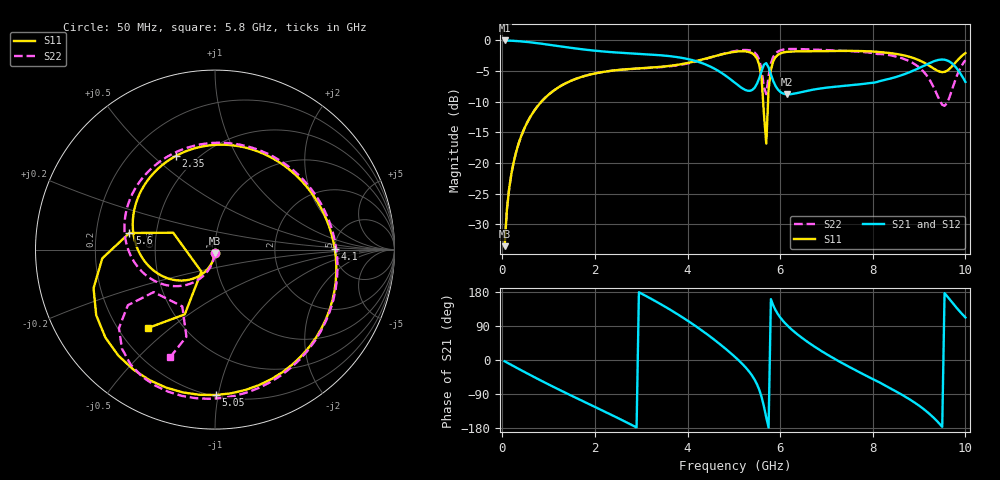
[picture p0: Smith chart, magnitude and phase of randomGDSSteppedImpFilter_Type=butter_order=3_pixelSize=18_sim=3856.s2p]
! freq	dB(S11)	phase(S11)	dB(S12)	phase(S12)
!  dB(S21)	phase(S21)	dB(S22)	phase(S22)
!S-par simulation data
#  GHz  S  DB  R 50
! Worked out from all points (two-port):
!   200 points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, 50 MHz to 10 GHz, reference 50 ohm
!   highest |S21| = -0.01 dB at 50 MHz (marker M1); lowest = -8.8 dB at 6.15 GHz (marker M2)
!   |S21| within 3 dB of the highest: start of sweep to 3.99 GHz
!   lowest |S11| = -33.5 dB at 50 MHz (marker M3), VSWR 1.04, Z = 49.8 - j2.1 ohm
!   |S11| at or under -10 dB: start of sweep to 843.4 MHz; 5.633 GHz to 5.739 GHz (106.2 MHz wide, 1.87 % of centre)
!   |S22| runs from -33.5 to -1.4 dB; largest |S21 - S12| = 0
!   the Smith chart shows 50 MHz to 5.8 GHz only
!   S11 on the Smith chart (normalised r, x): 50 MHz: 1.00, -0.04; 2.35 GHz: 0.39, +0.59; 4.1 GHz: 5.00, +0.11; 5.05 GHz: 0.21, -0.98; 5.6 GHz: 0.35, +0.08; 5.8 GHz: 0.32, -0.42
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0.05  -33.53 -93.6  -0.01 -3.4  -0.01 -3.4  -33.52 -92.9
0.2  -21.58 -104.8  -0.05 -13.3  -0.05 -13.3  -21.58 -102.4
0.5  -13.97 -126.5  -0.22 -33.0  -0.22 -33.0  -13.95 -120.4
1.75  -5.86 150.1  -1.47 -109.2  -1.47 -109.2  -5.85 170.3
2.35  -4.95 112.7  -1.91 -144.4  -1.91 -144.4  -4.95 137.5
3.4  -4.32 47.6  -2.41 148.8  -2.41 148.8  -4.37 69.4
4.1  -3.52 0.5  -3.20 95.8  -3.20 95.8  -3.60 10.1
4.6  -2.54 -41.1  -4.68 51.4  -4.68 51.4  -2.56 -37.7
5.05  -1.83 -89.7  -7.07 5.3  -7.07 5.3  -1.70 -82.2
5.45  -2.43 -151.1  -7.70 -52.2  -7.70 -52.2  -1.99 -126.2
5.6  -6.27 169.0  -4.96 -98.2  -4.96 -98.2  -4.79 -147.5
5.7  -16.82 -121.8  -3.70 -151.5  -3.70 -151.5  -8.75 -120.0
5.8  -4.80 -130.5  -5.54 160.5  -5.54 160.5  -3.75 -112.6
5.95  -2.35 -167.4  -8.00 121.4  -8.00 121.4  -1.82 -132.4
6.15  -1.87 158.9  -8.78 91.7  -8.78 91.7  -1.42 -151.3
6.7  -1.76 90.8  -8.04 38.7  -8.04 38.7  -1.49 171.6
7.45  -1.71 26.1  -7.36 -15.5  -7.36 -15.5  -1.72 128.0
8.35  -2.04 -26.7  -6.27 -72.6  -6.27 -72.6  -2.38 69.9
8.95  -3.07 -53.0  -4.67 -116.2  -4.67 -116.2  -4.10 14.9
9.4  -4.95 -60.7  -3.21 -162.9  -3.21 -162.9  -9.05 -68.8
9.7  -4.32 -52.7  -3.67 154.1  -3.67 154.1  -8.26 164.8
10  -2.07 -59.9  -6.76 112.3  -6.76 112.3  -3.22 88.9
